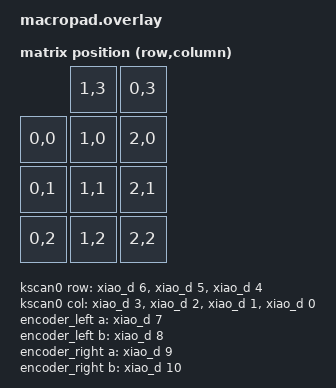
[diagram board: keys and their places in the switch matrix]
/*
 * Copyright (c) 2024 The ZMK Contributors
 * SPDX-License-Identifier: MIT
 */

#include <dt-bindings/zmk/matrix_transform.h>

/ {
    chosen {
        zmk,kscan = &kscan0;
        zmk,matrix-transform = &default_transform;
    };

    kscan0: kscan {
        compatible = "zmk,kscan-gpio-matrix";
        wakeup-source;
        
        diode-direction = "col2row";
        
        // Rows: P1.11 (D6), P0.05 (D5), P0.04 (D4)
        row-gpios
            = <&xiao_d 6 (GPIO_ACTIVE_HIGH | GPIO_PULL_DOWN)>    // P1.11
            , <&xiao_d 5 (GPIO_ACTIVE_HIGH | GPIO_PULL_DOWN)>    // P0.05
            , <&xiao_d 4 (GPIO_ACTIVE_HIGH | GPIO_PULL_DOWN)>    // P0.04
            ;
        
        // Columns: P0.29 (D3), P0.28 (D2), P0.03 (D1), P0.02 (D0)
        col-gpios
            = <&xiao_d 3 GPIO_ACTIVE_HIGH>    // P0.29
            , <&xiao_d 2 GPIO_ACTIVE_HIGH>    // P0.28
            , <&xiao_d 1 GPIO_ACTIVE_HIGH>    // P0.03
            , <&xiao_d 0 GPIO_ACTIVE_HIGH>    // P0.02
            ;
    };

    default_transform: keymap_transform_0 {
        compatible = "zmk,matrix-transform";
        columns = <4>;
        rows = <3>;
        
        // Physical Layout (4 rows x 3 columns visual):
        // Row 1: [Dead]    [EN1_Mute]  [EN2_Layer]
        // Row 2: [Rewind]  [Play]      [Skip]
        // Row 3: [Copy]    [Paste]     [Cut]
        // Row 4: [Ctrl+S+M][Ctrl+S+D]  [Ctrl+Z]
        //
        // Matrix wiring (3 rows x 4 columns):
        // Row 0 (P1.11): SW1, SW4, SW7, EN2_BTN
        // Row 1 (P0.05): SW2, SW5, SW8, EN1_BTN
        // Row 2 (P0.04): SW3, SW6, SW9
        //
        // Col 0 (P0.29): SW1, SW2, SW3
        // Col 1 (P0.28): SW4, SW5, SW6
        // Col 2 (P0.03): SW7, SW8, SW9
        // Col 3 (P0.02): EN1_BTN, EN2_BTN
        map = <
                    RC(1,3) RC(0,3)
            RC(0,0) RC(1,0) RC(2,0)
            RC(0,1) RC(1,1) RC(2,1)
            RC(0,2) RC(1,2) RC(2,2)
        >;
    };

    encoder_left: encoder_left {
        compatible = "alps,ec11";
        a-gpios = <&xiao_d 7 (GPIO_ACTIVE_LOW | GPIO_PULL_UP)>;     // P1.12 (D7)
        b-gpios = <&xiao_d 8 (GPIO_ACTIVE_LOW | GPIO_PULL_UP)>;     // P1.13 (D8)
        steps = <80>;
        status = "okay";
    };

    encoder_right: encoder_right {
        compatible = "alps,ec11";
        a-gpios = <&xiao_d 9 (GPIO_ACTIVE_LOW | GPIO_PULL_UP)>;     // P1.14 (D9)
        b-gpios = <&xiao_d 10 (GPIO_ACTIVE_LOW | GPIO_PULL_UP)>;    // P1.15 (D10)
        steps = <80>;
        status = "okay";
    };

    sensors: sensors {
        compatible = "zmk,keymap-sensors";
        sensors = <&encoder_left &encoder_right>;
        triggers-per-rotation = <20>;
    };
};
